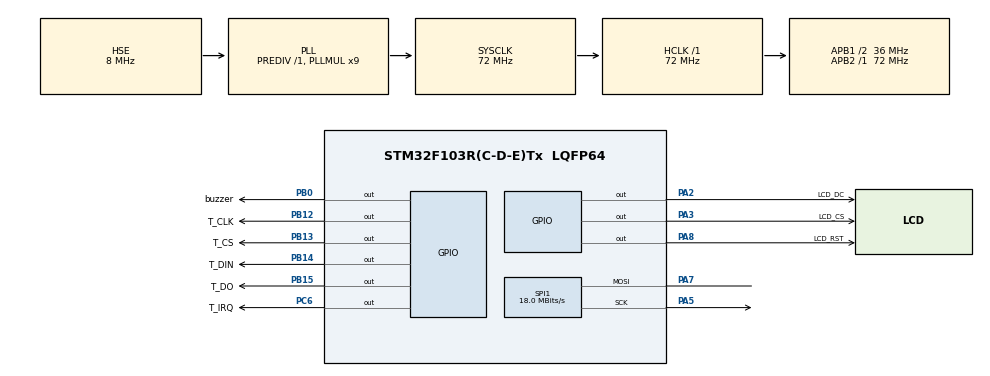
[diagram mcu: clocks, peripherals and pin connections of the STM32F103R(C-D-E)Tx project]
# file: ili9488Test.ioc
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Mcu.Family=STM32F1
Mcu.Name=STM32F103R(C-D-E)Tx
Mcu.Package=LQFP64
NVIC.PriorityGroup=NVIC_PRIORITYGROUP_4
PA13.Mode=Serial_Wire
PA13.Signal=SYS_JTMS-SWDIO
PA14.Mode=Serial_Wire
PA14.Signal=SYS_JTCK-SWCLK
PA2.GPIO_Label=LCD_DC
PA2.Signal=GPIO_Output
PA3.GPIO_Label=LCD_CS
PA3.Signal=GPIO_Output
PA5.Mode=Simplex_Bidirectional_Master
PA5.Signal=SPI1_SCK
PA7.Mode=Simplex_Bidirectional_Master
PA7.Signal=SPI1_MOSI
PA8.GPIO_Label=LCD_RST
PA8.Signal=GPIO_Output
PB0.GPIO_Label=buzzer
PB0.Signal=GPIO_Output
PB12.GPIO_Label=T_CLK
PB12.Signal=GPIO_Output
PB13.GPIO_Label=T_CS
PB13.Signal=GPIO_Output
PB14.GPIO_Label=T_DIN
PB14.Signal=GPIO_Output
PB15.GPIO_Label=T_DO
PB15.Signal=GPIO_Output
PC6.GPIO_Label=T_IRQ
PC6.Signal=GPIO_Output
PD0-OSC_IN.Mode=HSE-External-Oscillator
PD0-OSC_IN.Signal=RCC_OSC_IN
PD1-OSC_OUT.Mode=HSE-External-Oscillator
PD1-OSC_OUT.Signal=RCC_OSC_OUT
ProjectManager.HeapSize=0x200
ProjectManager.StackSize=0x400
ProjectManager.TargetToolchain=MDK-ARM V5.32
RCC.AHBFreq_Value=72000000
RCC.APB1CLKDivider=RCC_HCLK_DIV2
RCC.APB1Freq_Value=36000000
RCC.APB1TimFreq_Value=72000000
RCC.APB2Freq_Value=72000000
RCC.APB2TimFreq_Value=72000000
RCC.HCLKFreq_Value=72000000
RCC.PLLMUL=RCC_PLL_MUL9
RCC.PLLSourceVirtual=RCC_PLLSOURCE_HSE
RCC.SYSCLKFreq_VALUE=72000000
RCC.SYSCLKSource=RCC_SYSCLKSOURCE_PLLCLK
RCC.USBFreq_Value=72000000
SPI1.BaudRatePrescaler=SPI_BAUDRATEPRESCALER_4
SPI1.CalculateBaudRate=18.0 MBits/s
SPI1.Direction=SPI_DIRECTION_1LINE
SPI1.Mode=SPI_MODE_MASTER
SPI1.VirtualType=VM_MASTER
TIM1.Prescaler=72-1
VP_TIM1_VS_ClockSourceINT.Mode=Internal
board=custom

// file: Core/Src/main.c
/* USER CODE BEGIN Header */
/**
  ******************************************************************************
  * @file           : main.c
  * @brief          : Main program body
  ******************************************************************************
  * @attention
  *
  * Copyright (c) 2025 STMicroelectronics.
  * All rights reserved.
  *
  * This software is licensed under terms that can be found in the LICENSE file
  * in the root directory of this software component.
  * If no LICENSE file comes with this software, it is provided AS-IS.
  *
  ******************************************************************************
  */
/* USER CODE END Header */
#include "main.h"

/* USER CODE BEGIN Includes */
#include "stdio.h"
#include "ILI9488_SPI.h"
//#include "XPT2046.h"
#include "Font.h"
#include "AF12x16.h"
#include "image.h"
/* USER CODE END Includes */

SPI_HandleTypeDef hspi1;

TIM_HandleTypeDef htim1;

void SystemClock_Config(void);
static void MX_GPIO_Init(void);
static void MX_SPI1_Init(void);
static void MX_TIM1_Init(void);

int main(void)
{

  /* MCU Configuration--------------------------------------------------------*/

  /* Reset of all peripherals, Initializes the Flash interface and the Systick. */
  HAL_Init();

  /* Configure the system clock */
  SystemClock_Config();

  /* Initialize all configured peripherals */
  MX_GPIO_Init();
  MX_SPI1_Init();
  MX_TIM1_Init();
  /* USER CODE BEGIN 2 */

    HAL_TIM_Base_Start_IT(&htim1);
    ILI9488_Init();

    ILI9488_Fill_Screen(BLUE);
			HAL_GPIO_WritePin(buzzer_GPIO_Port, buzzer_Pin, GPIO_PIN_SET);
				HAL_Delay(500);
	HAL_GPIO_WritePin(buzzer_GPIO_Port, buzzer_Pin, GPIO_PIN_RESET);
    //LcdFont(AF12x16);
    //SetLetter(E_LETTER);
   // LcdFontXScale(1);
   // LcdFontYScale(1);
   // ILI9488_Set_Rotation(0);
    drawImage(140,225,30,30,logo);
    HAL_Delay(2000);

    LcdFontXScale(3);
    LcdFontYScale(3);

    ILI9488_Set_Rotation(0);
    ILI9488_Fill_Screen(BLUE);
    SetLetter(P_LETTER);
    DrawStringAt(0,0," ?? ??? ??? ",WHITE,RED);
    DrawStringAt(1,0," ???? ????? ",WHITE,BLACK);
    SetLetter(E_LETTER);
    DrawStringAt(3,0," micronik.ir ",BLACK,WHITE);
    DrawStringAt(4,0," TFT ILI9488 ",WHITE,MAROON);
    DrawStringAt(5,0," STM32F103 ",WHITE,PINK);
    HAL_Delay(1000);

    ILI9488_Set_Rotation(1);
    ILI9488_Fill_Screen(BLUE);
    SetLetter(P_LETTER);
    DrawStringAt(0,0," ?? ??? ??? ",WHITE,RED);
    DrawStringAt(1,0," ???? ????? ",WHITE,BLACK);
    SetLetter(E_LETTER);
    DrawStringAt(3,0," micronik.ir ",BLACK,WHITE);
    DrawStringAt(4,0," TFT ILI9488 ",WHITE,MAROON);
    DrawStringAt(5,0," STM32F103 ",WHITE,PINK);
    HAL_Delay(1000);

    ILI9488_Set_Rotation(2);
    ILI9488_Fill_Screen(BLUE);
    SetLetter(P_LETTER);
    DrawStringAt(0,0," ?? ??? ??? ",WHITE,RED);
    DrawStringAt(1,0," ???? ????? ",WHITE,BLACK);
    SetLetter(E_LETTER);
    DrawStringAt(3,0," micronik.ir ",BLACK,WHITE);
    DrawStringAt(4,0," TFT ILI9488 ",WHITE,MAROON);
    DrawStringAt(5,0," STM32F103 ",WHITE,PINK);
    HAL_Delay(1000);

    ILI9488_Set_Rotation(3);
    ILI9488_Fill_Screen(BLUE);
    SetLetter(P_LETTER);
    DrawStringAt(0,0," ?? ??? ??? ",WHITE,RED);
    DrawStringAt(1,0," ???? ????? ",WHITE,BLACK);
    SetLetter(E_LETTER);
    DrawStringAt(3,0," micronik.ir ",BLACK,WHITE);
    DrawStringAt(4,0," TFT ILI9488 ",WHITE,MAROON);
    DrawStringAt(5,0," STM32F103 ",WHITE,PINK);
    HAL_Delay(1000);

    ILI9488_Set_Rotation(0);
    ILI9488_Fill_Screen(WHITE);
    ILI9488_Draw_Fill_Rectangle(15, 420, 60,30, BLUE);
    ILI9488_Draw_Fill_Rectangle(85, 420, 60,30, GREEN);
    ILI9488_Draw_Fill_Rectangle(155, 420, 60,30, YELLOW);
    ILI9488_Draw_Fill_Rectangle(225, 420, 60,30, RED);
    HAL_GPIO_WritePin(buzzer_GPIO_Port, buzzer_Pin, GPIO_PIN_SET);
    HAL_Delay(500);
    HAL_GPIO_WritePin(buzzer_GPIO_Port, buzzer_Pin, GPIO_PIN_RESET);
  /* USER CODE END 2 */

  /* Infinite loop */
    while (1)
    {

    }
}

void SystemClock_Config(void)
{
  RCC_OscInitTypeDef RCC_OscInitStruct = {0};
  RCC_ClkInitTypeDef RCC_ClkInitStruct = {0};

  /** Initializes the RCC Oscillators according to the specified parameters
  * in the RCC_OscInitTypeDef structure.
  */
  RCC_OscInitStruct.OscillatorType = RCC_OSCILLATORTYPE_HSE;
  RCC_OscInitStruct.HSEState = RCC_HSE_ON;
  RCC_OscInitStruct.HSEPredivValue = RCC_HSE_PREDIV_DIV1;
  RCC_OscInitStruct.HSIState = RCC_HSI_ON;
  RCC_OscInitStruct.PLL.PLLState = RCC_PLL_ON;
  RCC_OscInitStruct.PLL.PLLSource = RCC_PLLSOURCE_HSE;
  RCC_OscInitStruct.PLL.PLLMUL = RCC_PLL_MUL9;
  if (HAL_RCC_OscConfig(&RCC_OscInitStruct) != HAL_OK)
  {
    Error_Handler();
  }
  /** Initializes the CPU, AHB and APB buses clocks
  */
  RCC_ClkInitStruct.ClockType = RCC_CLOCKTYPE_HCLK|RCC_CLOCKTYPE_SYSCLK
                              |RCC_CLOCKTYPE_PCLK1|RCC_CLOCKTYPE_PCLK2;
  RCC_ClkInitStruct.SYSCLKSource = RCC_SYSCLKSOURCE_PLLCLK;
  RCC_ClkInitStruct.AHBCLKDivider = RCC_SYSCLK_DIV1;
  RCC_ClkInitStruct.APB1CLKDivider = RCC_HCLK_DIV2;
  RCC_ClkInitStruct.APB2CLKDivider = RCC_HCLK_DIV1;

  if (HAL_RCC_ClockConfig(&RCC_ClkInitStruct, FLASH_LATENCY_2) != HAL_OK)
  {
    Error_Handler();
  }
}

static void MX_SPI1_Init(void)
{

  /* SPI1 parameter configuration*/
  hspi1.Instance = SPI1;
  hspi1.Init.Mode = SPI_MODE_MASTER;
  hspi1.Init.Direction = SPI_DIRECTION_1LINE;
  hspi1.Init.DataSize = SPI_DATASIZE_8BIT;
  hspi1.Init.CLKPolarity = SPI_POLARITY_LOW;
  hspi1.Init.CLKPhase = SPI_PHASE_1EDGE;
  hspi1.Init.NSS = SPI_NSS_SOFT;
  hspi1.Init.BaudRatePrescaler = SPI_BAUDRATEPRESCALER_4;
  hspi1.Init.FirstBit = SPI_FIRSTBIT_MSB;
  hspi1.Init.TIMode = SPI_TIMODE_DISABLE;
  hspi1.Init.CRCCalculation = SPI_CRCCALCULATION_DISABLE;
  hspi1.Init.CRCPolynomial = 10;
  if (HAL_SPI_Init(&hspi1) != HAL_OK)
  {
    Error_Handler();
  }

}

static void MX_TIM1_Init(void)
{

  TIM_ClockConfigTypeDef sClockSourceConfig = {0};
  TIM_MasterConfigTypeDef sMasterConfig = {0};

  htim1.Instance = TIM1;
  htim1.Init.Prescaler = 72-1;
  htim1.Init.CounterMode = TIM_COUNTERMODE_UP;
  htim1.Init.Period = 65535;
  htim1.Init.ClockDivision = TIM_CLOCKDIVISION_DIV1;
  htim1.Init.RepetitionCounter = 0;
  htim1.Init.AutoReloadPreload = TIM_AUTORELOAD_PRELOAD_DISABLE;
  if (HAL_TIM_Base_Init(&htim1) != HAL_OK)
  {
    Error_Handler();
  }
  sClockSourceConfig.ClockSource = TIM_CLOCKSOURCE_INTERNAL;
  if (HAL_TIM_ConfigClockSource(&htim1, &sClockSourceConfig) != HAL_OK)
  {
    Error_Handler();
  }
  sMasterConfig.MasterOutputTrigger = TIM_TRGO_RESET;
  sMasterConfig.MasterSlaveMode = TIM_MASTERSLAVEMODE_DISABLE;
  if (HAL_TIMEx_MasterConfigSynchronization(&htim1, &sMasterConfig) != HAL_OK)
  {
    Error_Handler();
  }

}

static void MX_GPIO_Init(void)
{
  GPIO_InitTypeDef GPIO_InitStruct = {0};

  /* GPIO Ports Clock Enable */
  __HAL_RCC_GPIOD_CLK_ENABLE();
  __HAL_RCC_GPIOA_CLK_ENABLE();
  __HAL_RCC_GPIOB_CLK_ENABLE();
  __HAL_RCC_GPIOC_CLK_ENABLE();

  /*Configure GPIO pin Output Level */
  HAL_GPIO_WritePin(GPIOA, GPIO_PIN_2|GPIO_PIN_3|GPIO_PIN_8, GPIO_PIN_RESET);

  /*Configure GPIO pin Output Level */
  HAL_GPIO_WritePin(GPIOB, GPIO_PIN_0|GPIO_PIN_12|GPIO_PIN_13|GPIO_PIN_14
                          |GPIO_PIN_15, GPIO_PIN_RESET);

  /*Configure GPIO pin Output Level */
  HAL_GPIO_WritePin(GPIOC, GPIO_PIN_6, GPIO_PIN_RESET);

  /*Configure GPIO pins : PA2 PA3 PA8 */
  GPIO_InitStruct.Pin = GPIO_PIN_2|GPIO_PIN_3|GPIO_PIN_8;
  GPIO_InitStruct.Mode = GPIO_MODE_OUTPUT_PP;
  GPIO_InitStruct.Pull = GPIO_NOPULL;
  GPIO_InitStruct.Speed = GPIO_SPEED_FREQ_LOW;
  HAL_GPIO_Init(GPIOA, &GPIO_InitStruct);

  /*Configure GPIO pins : PB0 PB12 PB13 PB14
                           PB15 */
  GPIO_InitStruct.Pin = GPIO_PIN_0|GPIO_PIN_12|GPIO_PIN_13|GPIO_PIN_14
                          |GPIO_PIN_15;
  GPIO_InitStruct.Mode = GPIO_MODE_OUTPUT_PP;
  GPIO_InitStruct.Pull = GPIO_NOPULL;
  GPIO_InitStruct.Speed = GPIO_SPEED_FREQ_LOW;
  HAL_GPIO_Init(GPIOB, &GPIO_InitStruct);

  /*Configure GPIO pin : PC6 */
  GPIO_InitStruct.Pin = GPIO_PIN_6;
  GPIO_InitStruct.Mode = GPIO_MODE_OUTPUT_PP;
  GPIO_InitStruct.Pull = GPIO_NOPULL;
  GPIO_InitStruct.Speed = GPIO_SPEED_FREQ_LOW;
  HAL_GPIO_Init(GPIOC, &GPIO_InitStruct);

}

void Error_Handler(void)
{
    __disable_irq();
    while (1)
    {
    }
}
